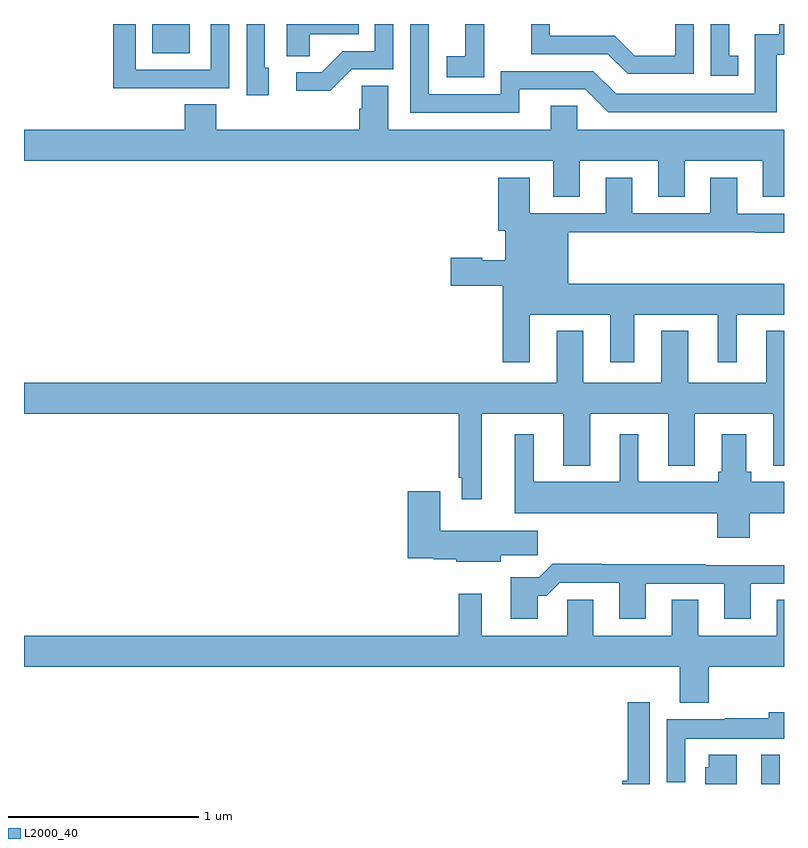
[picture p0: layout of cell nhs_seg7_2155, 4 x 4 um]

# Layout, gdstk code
import gdstk
lib = gdstk.Library(unit=1e-6, precision=1e-09)
def R(c, l, rs):  # rectangles x0, y0, x1, y1
    for r in rs: c.add(gdstk.rectangle(r[:2], r[2:], *l))
def P(c, l, *ps):  # polygons
    for p in ps: c.add(gdstk.Polygon(p, *l))
L2000_40 = (2000, 40)

nhs_seg7_2155 = lib.new_cell('nhs_seg7_2155')
R(nhs_seg7_2155, L2000_40, [(256.88,1000,256.977,1000.153), (253.676,1003.847,253.873,1004)])
P(nhs_seg7_2155, L2000_40, [(254.287,1003.77),(254.268,1003.77),(254.268,1004),(254.172,1004),(254.172,1003.626),(254.287,1003.626)],
  [(255.423,1003.927),(255.422,1003.927),(255.422,1004),(255.323,1004),(255.323,1003.831),(255.225,1003.831),(255.225,1003.721),(255.423,1003.721)],
  [(256.76,1003.833),(256.711,1003.833),(256.711,1004),(256.614,1004),(256.614,1003.728),(256.76,1003.728)],
  [(256.524,1004),(256.428,1004),(256.428,1003.834),(256.214,1003.834),(256.11,1003.938),(255.768,1003.938),(255.768,1004),(255.67,1004),(255.67,1003.842),(256.073,1003.842),(256.178,1003.737),(256.524,1003.737)],
  [(254.724,1003.761),(254.943,1003.761),(254.943,1004),(254.847,1004),(254.847,1003.857),(254.678,1003.857),(254.567,1003.746),(254.433,1003.746),(254.433,1003.649),(254.611,1003.649)],
  [(255.607,1003.656),(255.954,1003.656),(256.074,1003.536),(256.961,1003.536),(256.961,1003.839),(257,1003.839),(257,1004),(256.974,1004),(256.974,1003.947),(256.845,1003.947),(256.845,1003.632),(256.116,1003.632),(255.996,1003.752),(255.51,1003.752),(255.51,1003.629),(255.129,1003.629),(255.129,1004),(255.033,1004),(255.033,1003.533),(255.607,1003.533)],
  [(254.505,1003.946),(254.762,1003.946),(254.762,1004),(254.384,1004),(254.384,1003.831),(254.505,1003.831)],
  [(253.763,1003.662),(254.079,1003.662),(254.079,1004),(253.983,1004),(253.983,1003.758),(253.587,1003.758),(253.587,1004),(253.471,1004),(253.471,1003.661),(253.763,1003.661)],
  [(253.847,1003.577),(253.847,1003.444),(253,1003.444),(253,1003.28),(255.785,1003.28),(255.785,1003.09),(255.925,1003.09),(255.925,1003.28),(256.337,1003.28),(256.337,1003.09),(256.477,1003.09),(256.477,1003.28),(256.889,1003.28),(256.889,1003.09),(257,1003.09),(257,1003.444),(255.912,1003.444),(255.912,1003.571),(255.773,1003.571),(255.773,1003.444),(254.917,1003.444),(254.917,1003.676),(254.778,1003.676),(254.778,1003.553),(254.765,1003.553),(254.765,1003.444),(254.012,1003.444),(254.012,1003.577)],
  [(255.661,1002.47),(256.085,1002.47),(256.085,1002.219),(256.213,1002.219),(256.213,1002.47),(256.652,1002.47),(256.652,1002.219),(256.75,1002.219),(256.75,1002.47),(257,1002.47),(257,1002.634),(255.865,1002.634),(255.865,1002.904),(256.849,1002.904),(256.849,1002.902),(257,1002.902),(257,1003.002),(256.753,1003.002),(256.753,1003.192),(256.613,1003.192),(256.613,1003.005),(256.201,1003.005),(256.201,1003.192),(256.061,1003.192),(256.061,1003.005),(255.661,1003.005),(255.661,1003.192),(255.497,1003.192),(255.497,1002.912),(255.533,1002.912),(255.533,1002.757),(255.413,1002.757),(255.413,1002.77),(255.246,1002.77),(255.246,1002.623),(255.521,1002.623),(255.521,1002.219),(255.661,1002.219)],
  [(255.409,1001.948),(255.839,1001.948),(255.839,1001.675),(255.979,1001.675),(255.979,1001.948),(256.391,1001.948),(256.391,1001.675),(256.531,1001.675),(256.531,1001.948),(256.943,1001.948),(256.943,1001.675),(257,1001.675),(257,1002.385),(256.907,1002.385),(256.907,1002.112),(256.495,1002.112),(256.495,1002.385),(256.355,1002.385),(256.355,1002.112),(255.943,1002.112),(255.943,1002.385),(255.803,1002.385),(255.803,1002.112),(253,1002.112),(253,1001.948),(255.288,1001.948),(255.288,1001.611),(255.305,1001.611),(255.305,1001.499),(255.409,1001.499)],
  [(256.819,1001.426),(257,1001.426),(257,1001.59),(256.827,1001.59),(256.827,1001.643),(256.801,1001.643),(256.801,1001.842),(256.673,1001.842),(256.673,1001.643),(256.654,1001.643),(256.654,1001.59),(256.234,1001.59),(256.234,1001.842),(256.136,1001.842),(256.136,1001.59),(255.682,1001.59),(255.682,1001.842),(255.584,1001.842),(255.584,1001.426),(256.649,1001.426),(256.649,1001.295),(256.819,1001.295)],
  [(255.508,1001.203),(255.703,1001.203),(255.703,1001.332),(255.19,1001.332),(255.19,1001.542),(255.02,1001.542),(255.02,1001.189),(255.156,1001.189),(255.156,1001.182),(255.276,1001.182),(255.276,1001.171),(255.508,1001.171)],
  [(255.703,1000.991),(255.752,1000.991),(255.819,1001.058),(256.133,1001.058),(256.133,1000.869),(256.273,1000.869),(256.273,1001.055),(256.685,1001.055),(256.685,1000.869),(256.825,1000.869),(256.825,1001.055),(257,1001.055),(257,1001.152),(256.589,1001.152),(256.589,1001.156),(256.037,1001.156),(256.037,1001.159),(255.782,1001.159),(255.712,1001.089),(255.563,1001.089),(255.563,1000.869),(255.703,1000.869)],
  [(256.604,1000.616),(257,1000.616),(257,1000.97),(256.961,1000.97),(256.961,1000.78),(256.549,1000.78),(256.549,1000.97),(256.409,1000.97),(256.409,1000.78),(255.997,1000.78),(255.997,1000.97),(255.858,1000.97),(255.858,1000.78),(255.409,1000.78),(255.409,1001.002),(255.288,1001.002),(255.288,1000.78),(253,1000.78),(253,1000.616),(256.451,1000.616),(256.451,1000.427),(256.604,1000.427)],
  [(256.293,1000.429),(256.177,1000.429),(256.177,1000.018),(256.148,1000.018),(256.148,1000),(256.293,1000)],
  [(256.479,1000.238),(257,1000.238),(257,1000.378),(256.919,1000.378),(256.919,1000.345),(256.687,1000.345),(256.687,1000.342),(256.383,1000.342),(256.383,1000.008),(256.479,1000.008)],
  [(256.75,1000.153),(256.604,1000.153),(256.604,1000.089),(256.586,1000.089),(256.586,1000),(256.75,1000)])

lib.write_gds('nhs_seg7_2155.gds')
